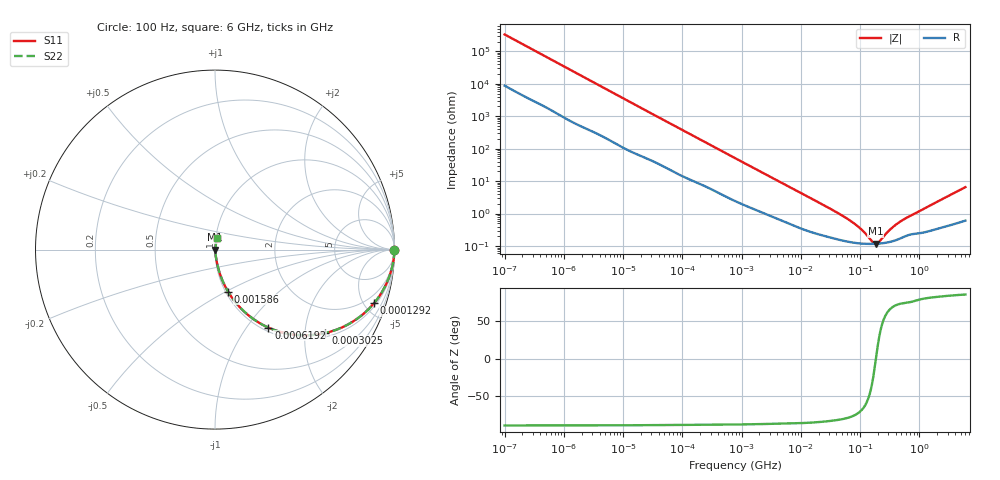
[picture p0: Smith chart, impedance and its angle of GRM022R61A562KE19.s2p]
!Murata Part Number: GRM022R61A562KE19
!These Parameters are Measured in Series Mode Connection
!Data Generated on Mar 30, 2021
!  o--ll--o
!Port1  Port2
!  o------o
!Operation Temp=25[degC], DC Bias Voltage=0[V]
!Freq. Start=100[Hz] Stop=6[GHz] 401[Steps]
# Hz S RI R 50
!Freq.(Hz) S11(Real) S11(Imag) S21(Real) S21(Imag) S12(Real) S12(Imag) S22(Real) S22(Imag)
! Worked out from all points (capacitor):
!   401 points, 100 Hz to 6 GHz, reference 50 ohm
!   read as one part in series: C = 4.8 nF near 109 Hz
!   lowest |Z| = 117 mohm at 182.6 MHz (marker M1)
!   series resonance near 185.4 MHz, so ESL is about 150 pH
!   S11 on the Smith chart (normalised r, x): 100 Hz: open; 129.2 kHz: 1.23, -5.84; 302.5 kHz: 1.11, -2.55; 619.2 kHz: 1.06, -1.27; 1.586 MHz: 1.03, -0.51; 6 GHz: 1.01, +0.13
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100  1 -0.000304  8.1e-06 0.000304  8.1e-06 0.000304  1 -0.000304
2008  0.9998 -0.00579  0.000193 0.00579  0.000193 0.00579  0.9998 -0.00579
12592  0.9977 -0.035  0.00229 0.035  0.00229 0.035  0.9977 -0.035
40335  0.9843 -0.1074  0.0157 0.1074  0.0157 0.1074  0.9843 -0.1074
129199  0.8859 -0.2988  0.1141 0.2988  0.1141 0.2988  0.8859 -0.2988
193316  0.786 -0.3895  0.214 0.3895  0.214 0.3895  0.786 -0.3895
302498  0.6153 -0.4646  0.3847 0.4646  0.3847 0.4646  0.6153 -0.4646
432798  0.4514 -0.4753  0.5486 0.4753  0.5486 0.4753  0.4514 -0.4753
619225  0.2974 -0.4344  0.7026 0.4344  0.7026 0.4344  0.2974 -0.4344
774597  0.2188 -0.3903  0.7812 0.3903  0.7812 0.3903  0.2188 -0.3903
1585629  0.0724 -0.2335  0.9276 0.2335  0.9276 0.2335  0.0724 -0.2335
4246196  0.0161 -0.0964  0.9839 0.0964  0.9839 0.0964  0.0161 -0.0964
1.555665e7  0.0034 -0.0279  0.9966 0.0279  0.9966 0.0279  0.0034 -0.0279
7.129496e7  0.00133 -0.00557  0.9987 0.00557  0.9987 0.00557  0.00133 -0.00557
1.020051e8  0.00121 -0.00321  0.9988 0.00321  0.9988 0.00321  0.00121 -0.00321
1.596157e8  0.00116 -0.000763  0.9988 0.000763  0.9988 0.000763  0.00116 -0.000763
1.825626e8  0.00117 -7.76e-05  0.9988 7.76e-05  0.9988 7.76e-05  0.00117 -7.76e-05
2.088084e8  0.00119 0.000606  0.9988 -0.000606  0.9988 -0.000606  0.00119 0.000606
3.124326e8  0.00133 0.00276  0.9987 -0.00276  0.9987 -0.00276  0.00133 0.00276
4.274388e8  0.0016 0.00467  0.9984 -0.00467  0.9984 -0.00467  0.0016 0.00467
5.847788e8  0.00206 0.00681  0.9979 -0.00681  0.9979 -0.00681  0.00206 0.00681
6e9  0.0102 0.0639  0.9898 -0.0639  0.9898 -0.0639  0.0102 0.0639
